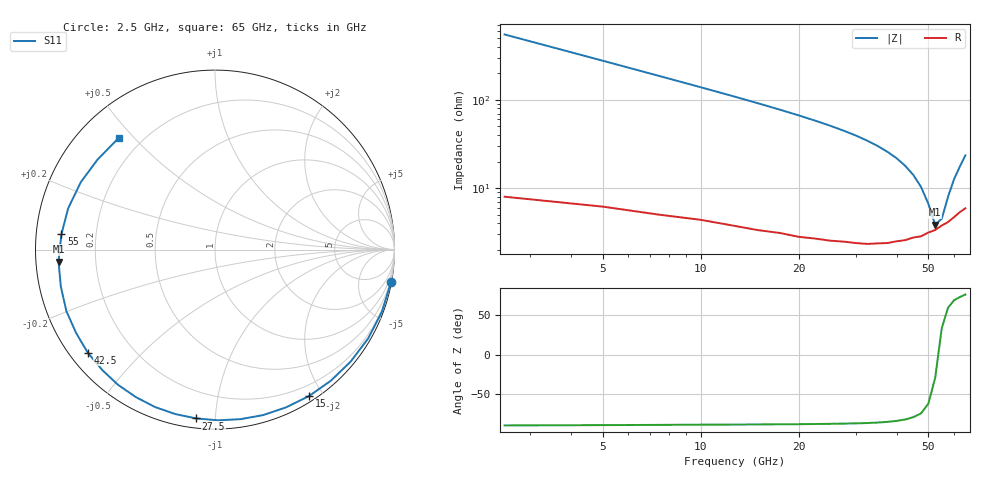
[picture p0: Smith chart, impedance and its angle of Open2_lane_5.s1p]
! File created by SignalIntegrity v1.5.1: Signal and Power Integrity Tools
! https://github.com/Nubis-Communications/SignalIntegrity
# MHz S MA R 50.0
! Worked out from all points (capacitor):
!   26 points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, 2.5 GHz to 65 GHz, reference 50 ohm
!   read as one part to ground: C = 114 fF near 2.5 GHz
!   lowest |Z| = 3.85 ohm at 52.5 GHz (marker M1)
!   series resonance near 53.59 GHz, so ESL is about 78 pH
!   S11 on the Smith chart (normalised r, x): 2.5 GHz: 0, -11; 15 GHz: 0.07, -1.83; 27.5 GHz: 0.05, -0.89; 42.5 GHz: 0.05, -0.35; 55 GHz: 0.08, +0.05; 65 GHz: 0.12, +0.45
2500  0.9974 -10.4
5000  0.9923 -20.4
7500  0.9866 -30.2
10000  0.9801 -39.6
12500  0.9747 -48.6
15000  0.9697 -57.3
17500  0.9641 -65.7
20000  0.9603 -73.7
22500  0.9553 -81.5
25000  0.9513 -89.0
27500  0.9464 -96.4
30000  0.9427 -103.6
32500  0.9385 -110.9
35000  0.9326 -118.2
37500  0.9271 -125.6
40000  0.9192 -133.1
42500  0.9124 -141.0
45000  0.9025 -149.0
47500  0.8962 -157.5
50000  0.8833 -166.5
52500  0.8744 -175.6
55000  0.86 174.3
57500  0.8499 164.3
60000  0.8367 153.3
62500  0.8246 142.6
65000  0.8218 130.6
